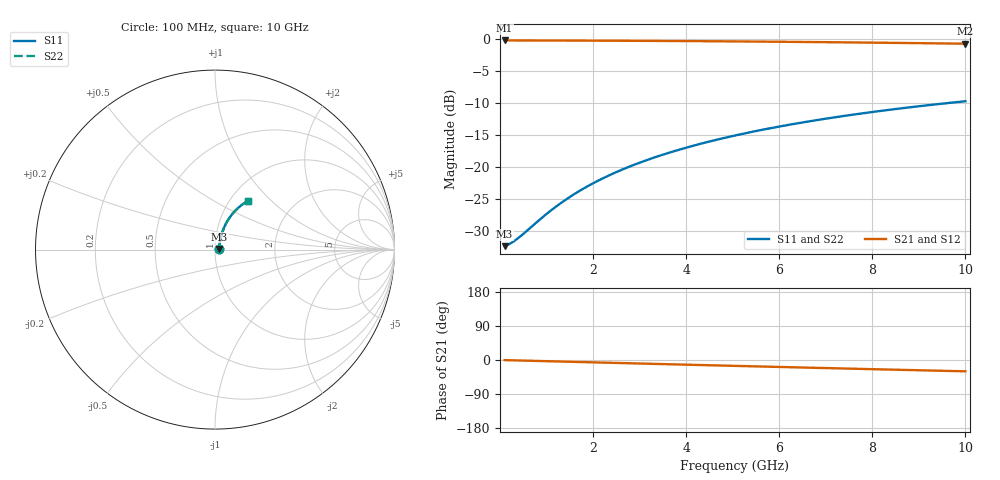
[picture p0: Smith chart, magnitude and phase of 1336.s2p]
# Hz S RI R 50.00
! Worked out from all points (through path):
!   100 points, 100 MHz to 10 GHz, reference 50 ohm
!   highest |S21| = -0.21 dB at 100 MHz (marker M1); lowest = -0.7 dB at 10 GHz (marker M2)
!   group delay of S21, straight-line fit = 8.32 ps
!   lowest |S11| = -32.3 dB at 100 MHz (marker M3), VSWR 1.05, Z = 52.5 + j0.36 ohm
!   |S11| at or under -10 dB: start of sweep to 9.59 GHz
!   |S22| runs from -32.3 to -9.7 dB; largest |S21 - S12| = 0
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1e8  0.0241 0.00343  0.9759 -0.00529  0.9759 -0.00529  0.0241 0.00343
2e8  0.0243 0.00685  0.9757 -0.0106  0.9757 -0.0106  0.0243 0.00685
3e8  0.0245 0.0103  0.9755 -0.0158  0.9755 -0.0158  0.0245 0.0103
4e8  0.0247 0.0137  0.9753 -0.0211  0.9753 -0.0211  0.0247 0.0137
1e9  0.0266 0.0341  0.9732 -0.0527  0.9732 -0.0527  0.0266 0.0341
1.3e9  0.028 0.0443  0.9717 -0.0684  0.9717 -0.0684  0.028 0.0443
1.5e9  0.0291 0.051  0.9705 -0.0789  0.9705 -0.0789  0.0291 0.051
1.8e9  0.031 0.061  0.9684 -0.0945  0.9684 -0.0945  0.031 0.061
2.1e9  0.0333 0.071  0.9659 -0.1101  0.9659 -0.1101  0.0333 0.071
2.5e9  0.0367 0.0841  0.9621 -0.1306  0.9621 -0.1306  0.0367 0.0841
2.9e9  0.0407 0.0971  0.9577 -0.151  0.9577 -0.151  0.0407 0.0971
3.4e9  0.0465 0.113  0.9514 -0.1762  0.9514 -0.1762  0.0465 0.113
3.8e9  0.0517 0.1254  0.9457 -0.1961  0.9457 -0.1961  0.0517 0.1254
4.2e9  0.0574 0.1375  0.9395 -0.2157  0.9395 -0.2157  0.0574 0.1375
4.6e9  0.0635 0.1493  0.9327 -0.235  0.9327 -0.235  0.0635 0.1493
5.1e9  0.0719 0.1637  0.9235 -0.2587  0.9235 -0.2587  0.0719 0.1637
5.9e9  0.0867 0.1855  0.9071 -0.2955  0.9071 -0.2955  0.0867 0.1855
6.7e9  0.1031 0.2058  0.8889 -0.3308  0.8889 -0.3308  0.1031 0.2058
7.5e9  0.1209 0.2245  0.869 -0.3646  0.869 -0.3646  0.1209 0.2245
8.4e9  0.1424 0.2434  0.845 -0.4005  0.845 -0.4005  0.1424 0.2434
9.2e9  0.1625 0.2583  0.8222 -0.4305  0.8222 -0.4305  0.1625 0.2583
1e10  0.1835 0.2714  0.7984 -0.4588  0.7984 -0.4588  0.1835 0.2714
